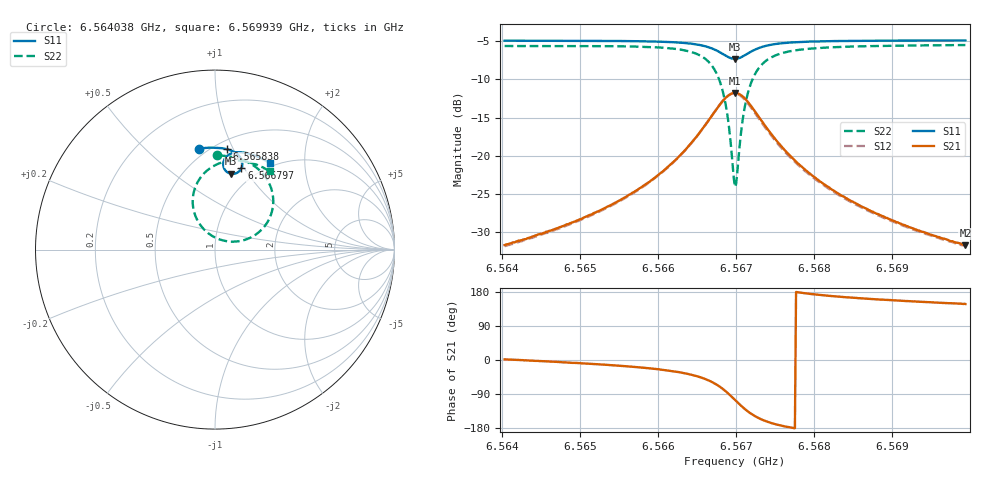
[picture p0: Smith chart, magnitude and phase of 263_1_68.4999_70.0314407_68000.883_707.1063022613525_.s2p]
#  HZ  S  RI  R  50.00
! Rohde & Schwarz Vector Network Analyzer
! Rohde-Schwarz,ZNB20-2Port,1311601062101988,3.16
! Created: UTC 3/20/2024, 5:00:20 PM
! freq[Hz]  re:S11  im:S11  re:S21  im:S21  re:S12  im:S12  re:S22  im:S22
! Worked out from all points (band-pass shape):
!   401 points, 6.564038 GHz to 6.569939 GHz, reference 50 ohm
!   highest |S21| = -11.77 dB at 6.566988 GHz (marker M1); lowest = -31.8 dB at 6.569939 GHz (marker M2)
!   |S21| within 3 dB of the highest: 6.566692 GHz to 6.567283 GHz (590.6 kHz wide, 0.00899 % of centre)
!   lowest |S11| = -7.3 dB at 6.566988 GHz (marker M3), VSWR 2.52, Z = 40.2 + j41.8 ohm
!   |S11| at or under -10 dB: nowhere
!   |S22| runs from -24.1 to -5.5 dB; largest |S21 - S12| = 0.012
!   S11 on the Smith chart (normalised r, x): 6.564038 GHz: 0.45, +0.75; 6.565838 GHz: 0.57, +0.94; 6.566797 GHz: 0.83, +0.97; 6.569939 GHz: 0.94, +1.35
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6.5640381e9  -0.0872 0.5623  0.0258 0.000766  0.0254 0.000332  0.0112 0.5248
6.5650264e9  -0.00754 0.5679  0.0378 -0.00594  0.0375 -0.00639  0.101 0.5151
6.5658378e9  0.0651 0.5597  0.0601 -0.023  0.0591 -0.0237  0.1968 0.4794
6.5660148e9  0.0828 0.5544  0.0682 -0.0314  0.0671 -0.0321  0.2238 0.4621
6.5663246e9  0.1168 0.5379  0.0869 -0.0591  0.0856 -0.0605  0.2793 0.4072
6.5665459e9  0.1417 0.5127  0.1004 -0.1026  0.0982 -0.1047  0.3183 0.3228
6.5666934e9  0.152 0.4825  0.0966 -0.1555  0.0928 -0.1582  0.3196 0.2223
6.5667966e9  0.1473 0.4538  0.0709 -0.2051  0.0644 -0.2076  0.2757 0.1291
6.5668852e9  0.1274 0.4303  0.0198 -0.2431  0.0106 -0.2435  0.1832 0.0603
6.5669147e9  0.1171 0.4251  -0.00362 -0.2506  -0.0137 -0.2497  0.1412 0.0479
6.5669589e9  0.0995 0.4219  -0.0422 -0.2534  -0.0526 -0.25  0.0724 0.0456
6.5669884e9  0.0874 0.4229  -0.0684 -0.2488  -0.0785 -0.2434  0.0269 0.0562
6.5670179e9  0.0759 0.427  -0.0933 -0.2391  -0.1026 -0.2323  -0.0153 0.0761
6.5670769e9  0.0575 0.4416  -0.1335 -0.2079  -0.1399 -0.1986  -0.0808 0.1357
6.5671212e9  0.0492 0.4561  -0.1528 -0.1788  -0.1569 -0.1688  -0.1097 0.1889
6.5671802e9  0.0458 0.4758  -0.1651 -0.1397  -0.1663 -0.1302  -0.1241 0.2581
6.5672687e9  0.0515 0.5007  -0.1635 -0.0911  -0.1621 -0.0833  -0.1116 0.3426
6.5675342e9  0.091 0.5359  -0.1213 -0.0193  -0.1187 -0.016  -0.0161 0.4611
6.5679768e9  0.1475 0.5421  -0.0735 0.00774  -0.0718 0.00909  0.0978 0.4962
6.5684341e9  0.1917 0.5338  -0.0499 0.0132  -0.0489 0.0137  0.1686 0.4916
6.5689652e9  0.2356 0.5185  -0.0354 0.0141  -0.0347 0.0145  0.2269 0.4753
6.5699388e9  0.3054 0.4825  -0.0218 0.0137  -0.0214 0.0137  0.3071 0.4353
